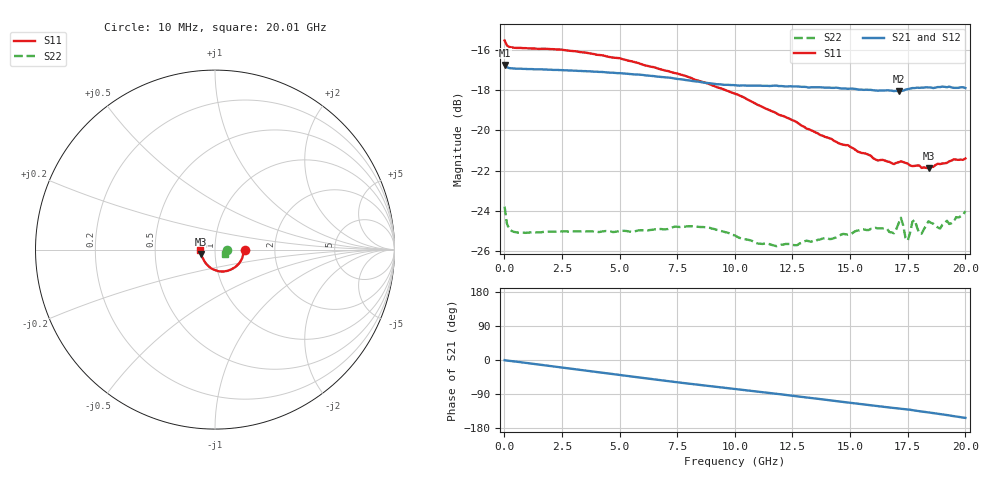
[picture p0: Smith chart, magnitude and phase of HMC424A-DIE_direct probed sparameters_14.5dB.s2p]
!s2p File: Measurements: S11, S21, S12, S22
# GHz S dB R 50.0
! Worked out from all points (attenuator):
!   201 points, 10 MHz to 20.01 GHz, reference 50 ohm
!   highest |S21| = -16.75 dB at 10 MHz (marker M1); lowest = -18.1 dB at 17.11 GHz (marker M2)
!   lowest |S11| = -21.9 dB at 18.41 GHz (marker M3), VSWR 1.18, Z = 42.9 - j2.24 ohm
!   |S11| at or under -10 dB: start of sweep to end of sweep
!   |S22| runs from -25.7 to -23.8 dB; largest |S21 - S12| = 0.0012
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0.01  -15.54 -0.7  -16.75 -0.4  -16.76 -0.3  -23.78 -1.6
0.11  -15.79 -1.8  -16.87 -1.4  -16.87 -1.4  -24.62 -4.1
0.41  -15.90 -3.5  -16.93 -3.5  -16.93 -3.5  -25.03 -2.7
3.41  -16.13 -25.6  -17.06 -27.0  -17.06 -27.0  -25.01 -9.5
6.71  -16.95 -51.5  -17.34 -52.7  -17.34 -52.7  -24.89 -18.1
8.61  -17.60 -66.8  -17.62 -66.8  -17.63 -66.8  -24.79 -25.0
10.01  -18.18 -79.3  -17.76 -76.4  -17.76 -76.3  -25.21 -29.8
11.81  -19.15 -95.5  -17.78 -89.2  -17.80 -89.1  -25.74 -29.4
13.41  -20.04 -110.2  -17.86 -100.9  -17.87 -100.9  -25.47 -28.8
15.51  -21.12 -130.6  -17.98 -116.7  -17.96 -116.5  -24.90 -30.5
16.71  -21.56 -143.7  -18.02 -125.2  -18.00 -125.2  -25.04 -33.0
16.91  -21.67 -145.4  -18.05 -126.6  -17.99 -126.6  -25.10 -31.1
17.11  -21.58 -147.1  -18.06 -128.0  -17.99 -128.1  -24.61 -30.1
17.21  -21.53 -148.3  -18.04 -128.6  -17.99 -128.8  -24.33 -33.4
17.41  -21.61 -150.8  -17.98 -129.8  -17.99 -130.2  -25.32 -35.5
17.51  -21.65 -151.9  -17.95 -130.8  -17.97 -131.1  -25.46 -31.0
17.71  -21.77 -153.2  -17.90 -132.3  -17.94 -132.5  -24.53 -29.7
17.81  -21.76 -153.9  -17.90 -133.1  -17.93 -133.2  -24.44 -32.1
18.11  -21.86 -157.8  -17.88 -135.9  -17.93 -135.6  -25.12 -29.8
18.41  -21.87 -161.2  -17.87 -138.3  -17.90 -138.2  -24.50 -29.7
18.91  -21.67 -166.7  -17.85 -142.6  -17.85 -142.4  -24.87 -28.4
20.01  -21.39 -179.8  -17.90 -152.8  -17.88 -152.7  -24.00 -24.4
